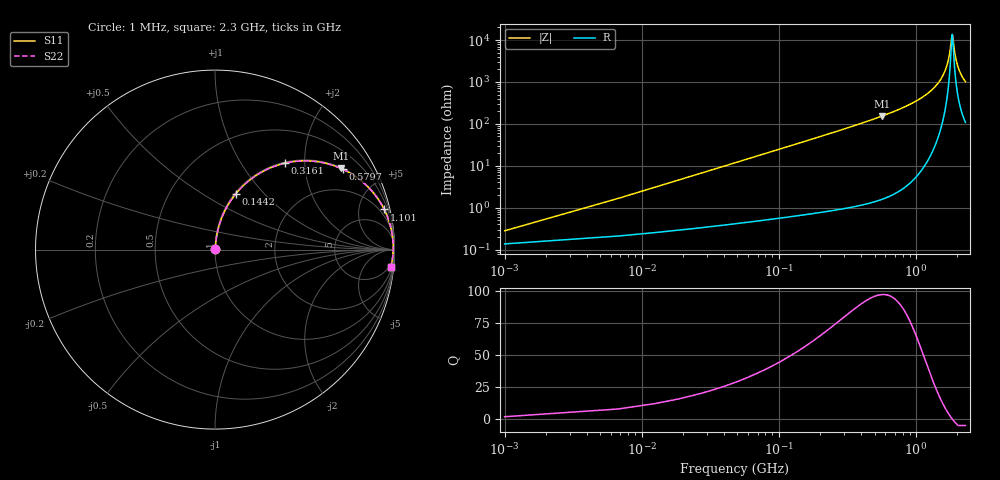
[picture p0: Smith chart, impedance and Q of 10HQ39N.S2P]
! Coilcraft 1008HQ-39N Chip Inductor
! 10 July 2002
# MHZ S MA R 50
!Freq  MagS11  AngS11  MagS21  AngS21  MagS12  AngS12  MagS22  AngS22
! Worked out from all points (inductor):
!   403 points, 1 MHz to 2.3 GHz, reference 50 ohm
!   read as one part in series: L = 39 nH near 12.46 MHz
!   highest Q = 97 at 568.3 MHz (marker M1), where L = 43.1 nH
!   self-resonance near 1.84 GHz
!   S11 on the Smith chart (normalised r, x): 1 MHz: 1.00, +0.00; 144.2 MHz: 1.01, +0.71; 316.1 MHz: 1.02, +1.60; 579.7 MHz: 1.03, +3.15; 1.101 GHz: 1.16, +8.38; 2.3 GHz: 3, -20
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1  0.002801 60.7  0.9986 -0.1  0.9986 -0.1  0.002801 60.7
18.19  0.0445 83.8  0.9961 -2.5  0.9961 -2.5  0.0445 83.8
35.38  0.08617 82.6  0.9926 -4.9  0.9926 -4.9  0.08617 82.6
75.49  0.1814 78.0  0.9786 -10.4  0.9786 -10.4  0.1814 78.0
144.25  0.3332 69.5  0.9367 -19.5  0.9367 -19.5  0.3332 69.5
316.15  0.6201 51.0  0.7769 -38.3  0.7769 -38.3  0.6201 51.0
384.91  0.6983 45.1  0.708 -44.3  0.708 -44.3  0.6983 45.1
568.27  0.8346 32.8  0.5424 -56.6  0.5424 -56.6  0.8346 32.8
579.73  0.8405 32.2  0.5332 -57.2  0.5332 -57.2  0.8405 32.2
768.82  0.9121 23.6  0.4 -65.8  0.4 -65.8  0.9121 23.6
1101.16  0.9687 13.4  0.231 -75.6  0.231 -75.6  0.9687 13.4
1152.73  0.9733 12.1  0.21 -76.7  0.21 -76.7  0.9733 12.1
1536.64  0.9911 4.6  0.08074 -81.4  0.08074 -81.4  0.9911 4.6
1639.78  0.9925 3.0  0.05218 -80.3  0.05218 -80.3  0.9925 3.0
1720  0.993 1.8  0.03147 -76.2  0.03147 -76.2  0.993 1.8
1771.57  0.993 1.0  0.01906 -67.9  0.01906 -67.9  0.993 1.0
1840.33  0.9927 0.1  0.007341 -8.3  0.007341 -8.3  0.9927 0.1
1857.52  0.9926 -0.2  0.007961 22.1  0.007961 22.1  0.9926 -0.2
1920.55  0.9921 -1.0  0.01928 65.3  0.01928 65.3  0.9921 -1.0
1983.58  0.9913 -1.8  0.03284 73.8  0.03284 73.8  0.9913 -1.8
2063.8  0.9901 -2.8  0.04996 77.1  0.04996 77.1  0.9901 -2.8
2300  0.9849 -5.6  0.09731 78.3  0.09731 78.3  0.9849 -5.6
